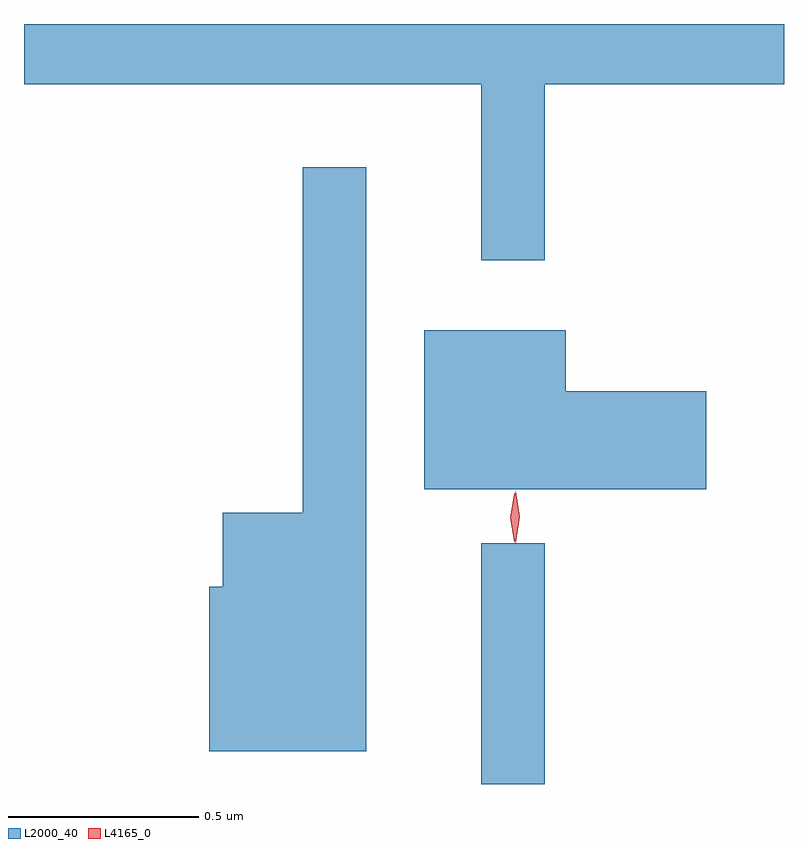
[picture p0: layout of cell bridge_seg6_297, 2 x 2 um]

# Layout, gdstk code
import gdstk
lib = gdstk.Library(unit=1e-6, precision=1e-09)
def R(c, l, rs):  # rectangles x0, y0, x1, y1
    for r in rs: c.add(gdstk.rectangle(r[:2], r[2:], *l))
def P(c, l, *ps):  # polygons
    for p in ps: c.add(gdstk.Polygon(p, *l))
L2000_40 = (2000, 40)
L4165_0 = (4165, 0)

bridge_seg6_297 = lib.new_cell('bridge_seg6_297')
R(bridge_seg6_297, L2000_40, [(1227.961,1554.855,1228.129,1555.488)])
P(bridge_seg6_297, L2000_40, [(1228.129,1556.696),(1228.758,1556.696),(1228.758,1556.855),(1226.758,1556.855),(1226.758,1556.696),(1227.961,1556.696),(1227.961,1556.233),(1228.129,1556.233)],
  [(1227.659,1556.478),(1227.491,1556.478),(1227.491,1555.569),(1227.281,1555.569),(1227.281,1555.374),(1227.246,1555.374),(1227.246,1554.941),(1227.659,1554.941)],
  [(1228.554,1555.889),(1228.184,1555.889),(1228.184,1556.049),(1227.811,1556.049),(1227.811,1555.631),(1228.554,1555.631)])
P(bridge_seg6_297, L4165_0, [(1228.052,1555.49),(1228.052,1555.49),(1228.042,1555.558),(1228.052,1555.626),(1228.052,1555.626),(1228.052,1555.626),(1228.062,1555.558),(1228.052,1555.49)],
  [(1228.048,1555.493),(1228.048,1555.493),(1228.038,1555.556),(1228.048,1555.619),(1228.048,1555.62),(1228.049,1555.619),(1228.058,1555.556),(1228.049,1555.493)])

lib.write_gds('bridge_seg6_297.gds')
